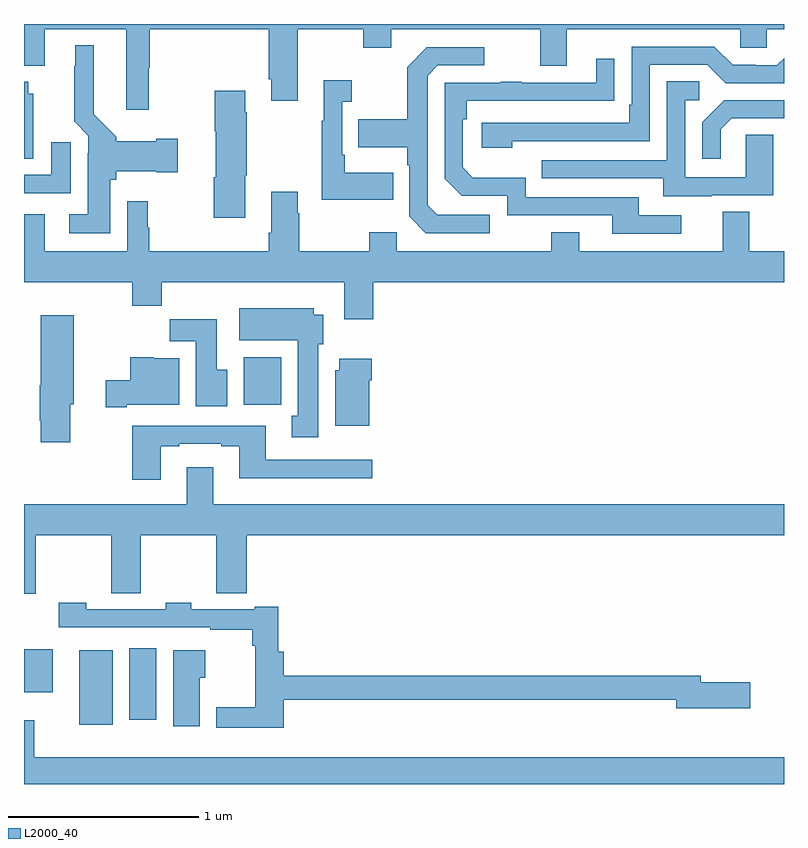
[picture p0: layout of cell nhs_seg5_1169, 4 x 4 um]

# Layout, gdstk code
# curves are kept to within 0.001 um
import gdstk
lib = gdstk.Library(unit=1e-6, precision=1e-09)
def R(c, l, rs):  # rectangles x0, y0, x1, y1
    for r in rs: c.add(gdstk.rectangle(r[:2], r[2:], *l))
def P(c, l, *ps):  # polygons
    for p in ps: c.add(gdstk.Polygon(p, *l))
L2000_40 = (2000, 40)

nhs_seg5_1169 = lib.new_cell('nhs_seg5_1169')
R(nhs_seg5_1169, L2000_40, [(183.29,841.112,183.466,841.504), (183.554,841.137,183.697,841.513), (183,841.283,183.151,841.507), (184.157,842.796,184.353,843.046)])
P(nhs_seg5_1169, L2000_40, [(183.657,844.568),(183.662,844.568),(183.662,844.772),(184.289,844.772),(184.289,844.507),(184.301,844.507),(184.301,844.395),(184.441,844.395),(184.441,844.772),(184.786,844.772),(184.786,844.673),(184.933,844.673),(184.933,844.772),(185.717,844.772),(185.717,844.578),(185.857,844.578),(185.857,844.772),(186.771,844.772),(186.771,844.674),(186.909,844.674),(186.909,844.772),(187,844.772),(187,844.799),(183,844.799),(183,844.58),(183.109,844.58),(183.109,844.772),(183.539,844.772),(183.539,844.347),(183.657,844.347)],
  [(183.454,843.978),(183.485,843.978),(183.485,844.025),(183.695,844.025),(183.695,844.018),(183.808,844.018),(183.808,844.196),(183.695,844.196),(183.695,844.183),(183.485,844.183),(183.485,844.206),(183.367,844.324),(183.367,844.687),(183.269,844.687),(183.269,844.577),(183.265,844.577),(183.265,844.286),(183.339,844.212),(183.339,844.118),(183.335,844.118),(183.335,843.799),(183.237,843.799),(183.237,843.698),(183.454,843.698)],
  [(185.57,844.182),(186.294,844.182),(186.294,844.584),(186.597,844.584),(186.693,844.488),(187,844.488),(187,844.618),(186.963,844.581),(186.848,844.581),(186.848,844.584),(186.729,844.584),(186.633,844.68),(186.198,844.68),(186.198,844.375),(186.185,844.375),(186.185,844.278),(185.409,844.278),(185.409,844.148),(185.57,844.148)],
  [(185.452,843.795),(185.175,843.795),(185.124,843.846),(185.124,844.527),(185.178,844.581),(185.422,844.581),(185.422,844.677),(185.121,844.677),(185.016,844.571),(185.016,844.299),(184.759,844.299),(184.759,844.151),(185.016,844.151),(185.016,844.055),(185.028,844.055),(185.028,843.786),(185.115,843.699),(185.452,843.699)],
  [(186.46,843.792),(186.235,843.792),(186.235,843.888),(185.64,843.888),(185.64,843.991),(185.363,843.991),(185.31,844.044),(185.31,844.298),(185.33,844.298),(185.33,844.395),(186.107,844.396),(186.107,844.615),(186.011,844.615),(186.011,844.491),(185.621,844.491),(185.621,844.496),(185.509,844.496),(185.509,844.491),(185.214,844.491),(185.214,843.984),(185.304,843.894),(185.544,843.894),(185.544,843.792),(186.095,843.792),(186.095,843.696),(186.46,843.696)],
  [(184.943,844.015),(184.687,844.015),(184.687,844.111),(184.674,844.111),(184.674,844.391),(184.726,844.391),(184.726,844.504),(184.577,844.504),(184.577,844.291),(184.566,844.291),(184.566,843.875),(184.943,843.875)],
  [(186.619,843.897),(186.943,843.897),(186.943,844.217),(186.798,844.217),(186.798,843.993),(186.48,843.993),(186.48,844.398),(186.553,844.398),(186.553,844.499),(186.384,844.499),(186.384,844.083),(185.725,844.083),(185.725,843.987),(186.365,843.987),(186.365,843.893),(186.619,843.893)],
  [(183.049,844.431),(183.022,844.431),(183.022,844.495),(183,844.495),(183,844.09),(183.049,844.09)],
  [(184.165,844.003),(184.173,844.003),(184.173,844.334),(184.165,844.334),(184.165,844.447),(184.003,844.447),(184.003,844.234),(184.01,844.234),(184.01,843.992),(183.998,843.992),(183.998,843.78),(184.165,843.78)],
  [(186.667,844.245),(186.724,844.302),(187,844.302),(187,844.398),(186.686,844.398),(186.57,844.282),(186.57,844.089),(186.667,844.089)],
  [(183.247,844.177),(183.143,844.177),(183.143,844.005),(183,844.005),(183,843.909),(183.247,843.909)],
  [(184.838,843.44),(187,843.44),(187,843.604),(186.817,843.604),(186.817,843.812),(186.677,843.812),(186.677,843.604),(185.923,843.604),(185.923,843.703),(185.776,843.703),(185.776,843.604),(184.962,843.604),(184.962,843.703),(184.816,843.703),(184.816,843.604),(184.449,843.604),(184.449,843.803),(184.441,843.803),(184.441,843.916),(184.301,843.916),(184.301,843.7),(184.289,843.7),(184.289,843.604),(183.659,843.604),(183.659,843.726),(183.652,843.726),(183.652,843.865),(183.543,843.865),(183.543,843.604),(183.109,843.604),(183.109,843.799),(183,843.799),(183,843.44),(183.569,843.44),(183.569,843.316),(183.725,843.316),(183.725,843.44),(184.685,843.44),(184.685,843.246),(184.838,843.246)],
  [(184.549,843.114),(184.576,843.114),(184.576,843.268),(184.525,843.268),(184.525,843.304),(184.133,843.304),(184.133,843.134),(184.442,843.134),(184.442,842.737),(184.409,842.737),(184.409,842.625),(184.549,842.625)],
  [(183.244,842.799),(183.262,842.799),(183.262,843.265),(183.089,843.265),(183.089,842.899),(183.082,842.899),(183.082,842.71),(183.089,842.71),(183.089,842.598),(183.244,842.598)],
  [(184.069,842.98),(184.015,842.98),(184.015,843.246),(183.766,843.246),(183.766,843.128),(183.905,843.128),(183.905,842.787),(184.069,842.787)],
  [(183.541,842.795),(183.817,842.795),(183.817,843.04),(183.684,843.04),(183.684,843.046),(183.559,843.046),(183.559,842.925),(183.429,842.925),(183.429,842.783),(183.541,842.783)],
  [(184.816,842.924),(184.829,842.924),(184.829,843.037),(184.658,843.037),(184.658,842.976),(184.637,842.976),(184.637,842.684),(184.816,842.684)],
  [(183.721,842.577),(183.817,842.577),(183.817,842.589),(184.037,842.589),(184.037,842.577),(184.133,842.577),(184.133,842.408),(184.834,842.408),(184.834,842.505),(184.273,842.505),(184.273,842.685),(183.569,842.685),(183.569,842.4),(183.721,842.4)],
  [(183.063,842.108),(183.46,842.108),(183.46,841.804),(183.614,841.804),(183.614,842.108),(184.012,842.108),(184.012,841.804),(184.172,841.804),(184.172,842.108),(187,842.108),(187,842.272),(183.997,842.272),(183.997,842.467),(183.857,842.467),(183.857,842.272),(183,842.272),(183,841.8),(183.063,841.8)],
  [(184.367,841.242),(186.434,841.242),(186.434,841.199),(186.823,841.199),(186.823,841.334),(186.562,841.334),(186.562,841.37),(184.367,841.37),(184.367,841.495),(184.337,841.495),(184.337,841.732),(184.214,841.732),(184.214,841.719),(183.879,841.719),(183.879,841.752),(183.747,841.752),(183.747,841.719),(183.327,841.719),(183.327,841.752),(183.183,841.752),(183.183,841.623),(183.979,841.623),(183.979,841.611),(184.201,841.611),(184.201,841.526),(184.216,841.526),(184.216,841.204),(184.011,841.204),(184.011,841.094),(184.367,841.094)],
  [(183.925,841.357),(183.955,841.357),(183.955,841.504),(183.785,841.504),(183.785,841.104),(183.925,841.104)],
  [(187,840.94),(183.055,840.94),(183.055,841.135),(183,841.135),(183,840.799),(187,840.799)])

lib.write_gds('nhs_seg5_1169.gds')
